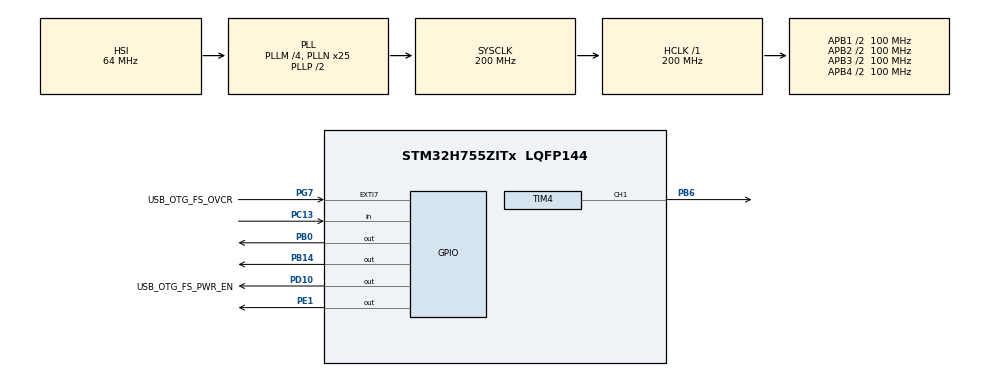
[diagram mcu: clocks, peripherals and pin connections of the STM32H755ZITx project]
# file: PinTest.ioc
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CortexM4.IPs=FATFS_M4\:I,FREERTOS_M4\:I,IWDG2\:I,RCC,WWDG2\:I,DMA,BDMA,MDMA,NVIC2\:I,ETH,USART3,DEBUG,PDM2PCM_M4\:I,PWR,RESMGR_UTILITY,SYS_M4\:I,USB_DEVICE_M4\:I,USB_HOST_M4\:I,CORTEX_M4\:I,GPIO,OPENAMP_M4\:I,VREFBUF,NUCLEO-H755ZI-Q
CortexM7.IPs=FATFS_M7\:I,FREERTOS_M7\:I,IWDG1\:I,RCC\:I,WWDG1\:I,DMA\:I,BDMA\:I,MDMA\:I,NVIC1\:I,ETH\:I,USART3\:I,USB_OTG_FS\:I,SYS\:I,CORTEX_M7\:I,DEBUG\:I,PDM2PCM_M7\:I,PWR\:I,RESMGR_UTILITY\:I,USB_DEVICE_M7\:I,USB_HOST_M7\:I,GPIO\:I,OPENAMP_M7\:I,VREFBUF\:I,NUCLEO-H755ZI-Q\:I,MEMORYMAP\:I,TIM4\:I
Mcu.Family=STM32H7
Mcu.Name=STM32H755ZITx
Mcu.Package=LQFP144
NVIC1.PriorityGroup=NVIC_PRIORITYGROUP_4
NVIC2.PriorityGroup=NVIC_PRIORITYGROUP_4
PA1.PinAttribute=CortexM7
PA1.Signal=ETH_REF_CLK
PA11.PinAttribute=CortexM7
PA11.Signal=USB_OTG_FS_DM
PA12.PinAttribute=CortexM7
PA12.Signal=USB_OTG_FS_DP
PA2.PinAttribute=CortexM7
PA2.Signal=ETH_MDIO
PA7.PinAttribute=CortexM7
PA7.Signal=ETH_CRS_DV
PA8.PinAttribute=CortexM7
PA8.Signal=USB_OTG_FS_SOF
PA9.PinAttribute=CortexM7
PA9.Signal=USB_OTG_FS_VBUS
PB0.PinAttribute=Free
PB0.Signal=GPIO_Output
PB13.PinAttribute=CortexM7
PB13.Signal=ETH_TXD1
PB14.PinAttribute=Free
PB14.Signal=GPIO_Output
PB6.PinAttribute=CortexM7
PB6.Signal=S_TIM4_CH1
PB7.PinAttribute=CortexM7
PB7.Signal=TIM17_CH1N
PC1.PinAttribute=CortexM7
PC1.Signal=ETH_MDC
PC13.PinAttribute=Free
PC13.Signal=GPIO_Input
PC14-OSC32_IN\ (OSC32_IN).PinAttribute=Free
PC14-OSC32_IN\ (OSC32_IN).Signal=RCC_OSC32_IN
PC15-OSC32_OUT\ (OSC32_OUT).PinAttribute=Free
PC15-OSC32_OUT\ (OSC32_OUT).Signal=RCC_OSC32_OUT
PC4.PinAttribute=CortexM7
PC4.Signal=ETH_RXD0
PC5.PinAttribute=CortexM7
PC5.Signal=ETH_RXD1
PD10.GPIO_Label=USB_OTG_FS_PWR_EN
PD10.PinAttribute=Free
PD10.Signal=GPIO_Output
PD8.PinAttribute=CortexM7
PD8.Signal=USART3_TX
PD9.PinAttribute=CortexM7
PD9.Signal=USART3_RX
PE1.PinAttribute=Free
PE1.Signal=GPIO_Output
PG11.PinAttribute=CortexM7
PG11.Signal=ETH_TX_EN
PG13.PinAttribute=CortexM7
PG13.Signal=ETH_TXD0
PG7.GPIO_Label=USB_OTG_FS_OVCR
PG7.PinAttribute=Free
PG7.Signal=GPXTI7
PH0-OSC_IN\ (PH0).PinAttribute=Free
PH0-OSC_IN\ (PH0).Signal=RCC_OSC_IN
PH1-OSC_OUT\ (PH1).PinAttribute=Free
PH1-OSC_OUT\ (PH1).Signal=RCC_OSC_OUT
ProjectManager.HeapSize=M4-0x200,M7-0x200
ProjectManager.StackSize=M4-0x400,M7-0x400
ProjectManager.TargetToolchain=STM32CubeIDE
RCC.ADCFreq_Value=129000000
RCC.APB1Freq_Value=100000000
RCC.APB2Freq_Value=100000000
RCC.APB3Freq_Value=100000000
RCC.APB4Freq_Value=100000000
RCC.CortexFreq_Value=200000000
RCC.D1PPRE=RCC_APB3_DIV2
RCC.D2PPRE1=RCC_APB1_DIV2
RCC.D2PPRE2=RCC_APB2_DIV2
RCC.D3PPRE=RCC_APB4_DIV2
RCC.DIVM1=4
RCC.DIVN1=25
RCC.DIVQ1=5
RCC.HCLKFreq_Value=200000000
RCC.PLL2FRACN=0
RCC.PLL3FRACN=0
RCC.PLLFRACN=0
RCC.SYSCLKFreq_VALUE=200000000
RCC.SYSCLKSource=RCC_SYSCLKSOURCE_PLLCLK
RCC.SupplySource=PWR_DIRECT_SMPS_SUPPLY
RCC.USBFreq_Value=80000000
SH.S_TIM4_CH1.0=TIM4_CH1,PWM Generation1 CH1
TIM4.AutoReloadPreload=TIM_AUTORELOAD_PRELOAD_DISABLE
TIM4.Channel-PWM\ Generation1\ CH1=TIM_CHANNEL_1
TIM4.Period=99
TIM4.Prescaler=9
VP_MEMORYMAP_VS_MEMORYMAP.Mode=CurAppReg
VP_SYS_M4_VS_Systick.Mode=SysTick
board=NUCLEO-H755ZI-Q

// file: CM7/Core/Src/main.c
/* USER CODE BEGIN Header */
/**
  ******************************************************************************
  * @file           : main.c
  * @brief          : Main program body
  ******************************************************************************
  * @attention
  *
  * Copyright (c) 2025 STMicroelectronics.
  * All rights reserved.
  *
  * This software is licensed under terms that can be found in the LICENSE file
  * in the root directory of this software component.
  * If no LICENSE file comes with this software, it is provided AS-IS.
  *
  ******************************************************************************
  */
/* USER CODE END Header */
#include "main.h"

/* USER CODE BEGIN PD */

/* DUAL_CORE_BOOT_SYNC_SEQUENCE: Define for dual core boot synchronization    */
/*                             demonstration code based on hardware semaphore */
/* This define is present in both CM7/CM4 projects                            */
/* To comment when developping/debugging on a single core                     */
#define DUAL_CORE_BOOT_SYNC_SEQUENCE

#if defined(DUAL_CORE_BOOT_SYNC_SEQUENCE)
#ifndef HSEM_ID_0
#define HSEM_ID_0 (0U) /* HW semaphore 0*/
#endif
#endif /* DUAL_CORE_BOOT_SYNC_SEQUENCE */

/* USER CODE END PD */

TIM_HandleTypeDef htim4;

/* USER CODE BEGIN PV */

#define NOTE_B0  31
#define NOTE_C1  33
#define NOTE_CS1 35
#define NOTE_D1  37
#define NOTE_DS1 39
#define NOTE_E1  41
#define NOTE_F1  44
#define NOTE_FS1 46
#define NOTE_G1  49
#define NOTE_GS1 52
#define NOTE_A1  55
#define NOTE_AS1 58
#define NOTE_B1  62
#define NOTE_C2  65
#define NOTE_CS2 69
#define NOTE_D2  73
#define NOTE_DS2 78
#define NOTE_E2  82
#define NOTE_F2  87
#define NOTE_FS2 93
#define NOTE_G2  98
#define NOTE_GS2 104
#define NOTE_A2  110
#define NOTE_AS2 117
#define NOTE_B2  123
#define NOTE_C3  131
#define NOTE_CS3 139
#define NOTE_DB3 139
#define NOTE_D3  147
#define NOTE_DS3 156
#define NOTE_EB3 156
#define NOTE_E3  165
#define NOTE_F3  175
#define NOTE_FS3 185
#define NOTE_G3  196
#define NOTE_GS3 208
#define NOTE_A3  220
#define NOTE_AS3 233
#define NOTE_B3  247
#define NOTE_C4  262
#define NOTE_CS4 277
#define NOTE_D4  294
#define NOTE_DS4 311
#define NOTE_E4  330
#define NOTE_F4  349
#define NOTE_FS4 370
#define NOTE_G4  392
#define NOTE_GS4 415
#define NOTE_A4  440
#define NOTE_AS4 466
#define NOTE_B4  494
#define NOTE_C5  523
#define NOTE_CS5 554
#define NOTE_D5  587
#define NOTE_DS5 622
#define NOTE_E5  659
#define NOTE_F5  698
#define NOTE_FS5 740
#define NOTE_G5  784
#define NOTE_GS5 831
#define NOTE_A5  880
#define NOTE_AS5 932
#define NOTE_B5  988
#define NOTE_C6  1047
#define NOTE_CS6 1109
#define NOTE_D6  1175
#define NOTE_DS6 1245
#define NOTE_E6  1319
#define NOTE_F6  1397
#define NOTE_FS6 1480
#define NOTE_G6  1568
#define NOTE_GS6 1661
#define NOTE_A6  1760
#define NOTE_AS6 1865
#define NOTE_B6  1976
#define NOTE_C7  2093
#define NOTE_CS7 2217
#define NOTE_D7  2349
#define NOTE_DS7 2489
#define NOTE_E7  2637
#define NOTE_F7  2794
#define NOTE_FS7 2960
#define NOTE_G7  3136
#define NOTE_GS7 3322
#define NOTE_A7  3520
#define NOTE_AS7 3729
#define NOTE_B7  3951
#define NOTE_C8  4186
#define NOTE_CS8 4435
#define NOTE_D8  4699
#define NOTE_DS8 4978
#define REST     0
int melody[] = {
  NOTE_E5, NOTE_D5, NOTE_FS4, NOTE_GS4,
  NOTE_CS5, NOTE_B4, NOTE_D4, NOTE_E4,
  NOTE_B4, NOTE_A4, NOTE_CS4, NOTE_E4,
  NOTE_A4
};

int durations[] = {
  8, 8, 4, 4,
  8, 8, 4, 4,
  8, 8, 4, 4,
  2
};

/* USER CODE END PV */

void SystemClock_Config(void);
static void MX_GPIO_Init(void);
static void MX_TIM4_Init(void);
/* USER CODE BEGIN PFP */
int presForFrequency(int Frequency);
void playTone(int *tone, int *duration, int size);
void noTone(void);
/* USER CODE END PFP */

/* USER CODE BEGIN 0 */
#define TIM_FREQ 200000000
int presForFrequency(int Frequency){
	if(Frequency == 0) return 0;
	return((TIM_FREQ/(Frequency*100))-1);

}
void noTone(void){
	__HAL_TIM_SET_PRESCALER(&htim4,9);
}
void playTone(int *tone, int *duration, int size){
	for (int i = 0; i < size; i++){
		int pres = 9;
		if(tone[i] != 0) pres = presForFrequency(tone[i]);
		int dur = 1000 / duration[i];
		__HAL_TIM_SET_PRESCALER(&htim4,pres);
		HAL_Delay(dur);
		noTone();
		HAL_Delay(dur * 0.7);
	}
}
/* USER CODE END 0 */

int main(void)
{

/* USER CODE BEGIN Boot_Mode_Sequence_0 */
#if defined(DUAL_CORE_BOOT_SYNC_SEQUENCE)
  int32_t timeout;
#endif /* DUAL_CORE_BOOT_SYNC_SEQUENCE */
/* USER CODE END Boot_Mode_Sequence_0 */

/* USER CODE BEGIN Boot_Mode_Sequence_1 */
#if defined(DUAL_CORE_BOOT_SYNC_SEQUENCE)
  /* Wait until CPU2 boots and enters in stop mode or timeout*/
  timeout = 0xFFFF;
  while((__HAL_RCC_GET_FLAG(RCC_FLAG_D2CKRDY) != RESET) && (timeout-- > 0));
  if ( timeout < 0 )
  {
  Error_Handler();
  }
#endif /* DUAL_CORE_BOOT_SYNC_SEQUENCE */
/* USER CODE END Boot_Mode_Sequence_1 */
  /* MCU Configuration--------------------------------------------------------*/

  /* Reset of all peripherals, Initializes the Flash interface and the Systick. */
  HAL_Init();

  /* Configure the system clock */
  SystemClock_Config();
/* USER CODE BEGIN Boot_Mode_Sequence_2 */
#if defined(DUAL_CORE_BOOT_SYNC_SEQUENCE)
/* When system initialization is finished, Cortex-M7 will release Cortex-M4 by means of
HSEM notification */
/*HW semaphore Clock enable*/
__HAL_RCC_HSEM_CLK_ENABLE();
/*Take HSEM */
HAL_HSEM_FastTake(HSEM_ID_0);
/*Release HSEM in order to notify the CPU2(CM4)*/
HAL_HSEM_Release(HSEM_ID_0,0);
/* wait until CPU2 wakes up from stop mode */
timeout = 0xFFFF;
while((__HAL_RCC_GET_FLAG(RCC_FLAG_D2CKRDY) == RESET) && (timeout-- > 0));
if ( timeout < 0 )
{
Error_Handler();
}
#endif /* DUAL_CORE_BOOT_SYNC_SEQUENCE */
/* USER CODE END Boot_Mode_Sequence_2 */

  /* Initialize all configured peripherals */
  MX_GPIO_Init();
  MX_TIM4_Init();
  /* USER CODE BEGIN 2 */
  HAL_TIM_PWM_Start(&htim4, TIM_CHANNEL_1);
//  __HAL_TIM_SET_PRESCALER(&htim4,presForFrequency(440));
  __HAL_TIM_SET_COMPARE(&htim4, TIM_CHANNEL_1,50);
  playTone(melody, durations, (sizeof(melody)/sizeof(melody[0])));
  __HAL_TIM_SET_PRESCALER(&htim4,9);

  /* USER CODE END 2 */

  /* Infinite loop */
  while (1)
  {

  }
}

void SystemClock_Config(void)
{
  RCC_OscInitTypeDef RCC_OscInitStruct = {0};
  RCC_ClkInitTypeDef RCC_ClkInitStruct = {0};

  /** Supply configuration update enable
  */
  HAL_PWREx_ConfigSupply(PWR_DIRECT_SMPS_SUPPLY);

  /** Configure the main internal regulator output voltage
  */
  __HAL_PWR_VOLTAGESCALING_CONFIG(PWR_REGULATOR_VOLTAGE_SCALE3);

  while(!__HAL_PWR_GET_FLAG(PWR_FLAG_VOSRDY)) {}

  /** Initializes the RCC Oscillators according to the specified parameters
  * in the RCC_OscInitTypeDef structure.
  */
  RCC_OscInitStruct.OscillatorType = RCC_OSCILLATORTYPE_HSI;
  RCC_OscInitStruct.HSIState = RCC_HSI_DIV1;
  RCC_OscInitStruct.HSICalibrationValue = RCC_HSICALIBRATION_DEFAULT;
  RCC_OscInitStruct.PLL.PLLState = RCC_PLL_ON;
  RCC_OscInitStruct.PLL.PLLSource = RCC_PLLSOURCE_HSI;
  RCC_OscInitStruct.PLL.PLLM = 4;
  RCC_OscInitStruct.PLL.PLLN = 25;
  RCC_OscInitStruct.PLL.PLLP = 2;
  RCC_OscInitStruct.PLL.PLLQ = 5;
  RCC_OscInitStruct.PLL.PLLR = 2;
  RCC_OscInitStruct.PLL.PLLRGE = RCC_PLL1VCIRANGE_3;
  RCC_OscInitStruct.PLL.PLLVCOSEL = RCC_PLL1VCOWIDE;
  RCC_OscInitStruct.PLL.PLLFRACN = 0;
  if (HAL_RCC_OscConfig(&RCC_OscInitStruct) != HAL_OK)
  {
    Error_Handler();
  }

  /** Initializes the CPU, AHB and APB buses clocks
  */
  RCC_ClkInitStruct.ClockType = RCC_CLOCKTYPE_HCLK|RCC_CLOCKTYPE_SYSCLK
                              |RCC_CLOCKTYPE_PCLK1|RCC_CLOCKTYPE_PCLK2
                              |RCC_CLOCKTYPE_D3PCLK1|RCC_CLOCKTYPE_D1PCLK1;
  RCC_ClkInitStruct.SYSCLKSource = RCC_SYSCLKSOURCE_PLLCLK;
  RCC_ClkInitStruct.SYSCLKDivider = RCC_SYSCLK_DIV1;
  RCC_ClkInitStruct.AHBCLKDivider = RCC_HCLK_DIV1;
  RCC_ClkInitStruct.APB3CLKDivider = RCC_APB3_DIV2;
  RCC_ClkInitStruct.APB1CLKDivider = RCC_APB1_DIV2;
  RCC_ClkInitStruct.APB2CLKDivider = RCC_APB2_DIV2;
  RCC_ClkInitStruct.APB4CLKDivider = RCC_APB4_DIV2;

  if (HAL_RCC_ClockConfig(&RCC_ClkInitStruct, FLASH_LATENCY_4) != HAL_OK)
  {
    Error_Handler();
  }
}

static void MX_TIM4_Init(void)
{

  TIM_MasterConfigTypeDef sMasterConfig = {0};
  TIM_OC_InitTypeDef sConfigOC = {0};

  htim4.Instance = TIM4;
  htim4.Init.Prescaler = 9;
  htim4.Init.CounterMode = TIM_COUNTERMODE_UP;
  htim4.Init.Period = 99;
  htim4.Init.ClockDivision = TIM_CLOCKDIVISION_DIV1;
  htim4.Init.AutoReloadPreload = TIM_AUTORELOAD_PRELOAD_DISABLE;
  if (HAL_TIM_PWM_Init(&htim4) != HAL_OK)
  {
    Error_Handler();
  }
  sMasterConfig.MasterOutputTrigger = TIM_TRGO_RESET;
  sMasterConfig.MasterSlaveMode = TIM_MASTERSLAVEMODE_DISABLE;
  if (HAL_TIMEx_MasterConfigSynchronization(&htim4, &sMasterConfig) != HAL_OK)
  {
    Error_Handler();
  }
  sConfigOC.OCMode = TIM_OCMODE_PWM1;
  sConfigOC.Pulse = 0;
  sConfigOC.OCPolarity = TIM_OCPOLARITY_HIGH;
  sConfigOC.OCFastMode = TIM_OCFAST_DISABLE;
  if (HAL_TIM_PWM_ConfigChannel(&htim4, &sConfigOC, TIM_CHANNEL_1) != HAL_OK)
  {
    Error_Handler();
  }
  HAL_TIM_MspPostInit(&htim4);

}

static void MX_GPIO_Init(void)
{
  GPIO_InitTypeDef GPIO_InitStruct = {0};

  /* GPIO Ports Clock Enable */
  __HAL_RCC_GPIOC_CLK_ENABLE();
  __HAL_RCC_GPIOA_CLK_ENABLE();
  __HAL_RCC_GPIOB_CLK_ENABLE();
  __HAL_RCC_GPIOD_CLK_ENABLE();
  __HAL_RCC_GPIOG_CLK_ENABLE();

  /*Configure GPIO pins : PC1 PC4 PC5 */
  GPIO_InitStruct.Pin = GPIO_PIN_1|GPIO_PIN_4|GPIO_PIN_5;
  GPIO_InitStruct.Mode = GPIO_MODE_AF_PP;
  GPIO_InitStruct.Pull = GPIO_NOPULL;
  GPIO_InitStruct.Speed = GPIO_SPEED_FREQ_LOW;
  GPIO_InitStruct.Alternate = GPIO_AF11_ETH;
  HAL_GPIO_Init(GPIOC, &GPIO_InitStruct);

  /*Configure GPIO pins : PA1 PA2 PA7 */
  GPIO_InitStruct.Pin = GPIO_PIN_1|GPIO_PIN_2|GPIO_PIN_7;
  GPIO_InitStruct.Mode = GPIO_MODE_AF_PP;
  GPIO_InitStruct.Pull = GPIO_NOPULL;
  GPIO_InitStruct.Speed = GPIO_SPEED_FREQ_LOW;
  GPIO_InitStruct.Alternate = GPIO_AF11_ETH;
  HAL_GPIO_Init(GPIOA, &GPIO_InitStruct);

  /*Configure GPIO pin : PB13 */
  GPIO_InitStruct.Pin = GPIO_PIN_13;
  GPIO_InitStruct.Mode = GPIO_MODE_AF_PP;
  GPIO_InitStruct.Pull = GPIO_NOPULL;
  GPIO_InitStruct.Speed = GPIO_SPEED_FREQ_LOW;
  GPIO_InitStruct.Alternate = GPIO_AF11_ETH;
  HAL_GPIO_Init(GPIOB, &GPIO_InitStruct);

  /*Configure GPIO pins : PD8 PD9 */
  GPIO_InitStruct.Pin = GPIO_PIN_8|GPIO_PIN_9;
  GPIO_InitStruct.Mode = GPIO_MODE_AF_PP;
  GPIO_InitStruct.Pull = GPIO_NOPULL;
  GPIO_InitStruct.Speed = GPIO_SPEED_FREQ_LOW;
  GPIO_InitStruct.Alternate = GPIO_AF7_USART3;
  HAL_GPIO_Init(GPIOD, &GPIO_InitStruct);

  /*Configure GPIO pins : PA8 PA11 PA12 */
  GPIO_InitStruct.Pin = GPIO_PIN_8|GPIO_PIN_11|GPIO_PIN_12;
  GPIO_InitStruct.Mode = GPIO_MODE_AF_PP;
  GPIO_InitStruct.Pull = GPIO_NOPULL;
  GPIO_InitStruct.Speed = GPIO_SPEED_FREQ_LOW;
  GPIO_InitStruct.Alternate = GPIO_AF10_OTG1_FS;
  HAL_GPIO_Init(GPIOA, &GPIO_InitStruct);

  /*Configure GPIO pins : PG11 PG13 */
  GPIO_InitStruct.Pin = GPIO_PIN_11|GPIO_PIN_13;
  GPIO_InitStruct.Mode = GPIO_MODE_AF_PP;
  GPIO_InitStruct.Pull = GPIO_NOPULL;
  GPIO_InitStruct.Speed = GPIO_SPEED_FREQ_LOW;
  GPIO_InitStruct.Alternate = GPIO_AF11_ETH;
  HAL_GPIO_Init(GPIOG, &GPIO_InitStruct);

  /*Configure GPIO pin : PB7 */
  GPIO_InitStruct.Pin = GPIO_PIN_7;
  GPIO_InitStruct.Mode = GPIO_MODE_AF_PP;
  GPIO_InitStruct.Pull = GPIO_NOPULL;
  GPIO_InitStruct.Speed = GPIO_SPEED_FREQ_LOW;
  GPIO_InitStruct.Alternate = GPIO_AF1_TIM17;
  HAL_GPIO_Init(GPIOB, &GPIO_InitStruct);

}

void Error_Handler(void)
{
  __disable_irq();
  while (1)
  {
  }
}
